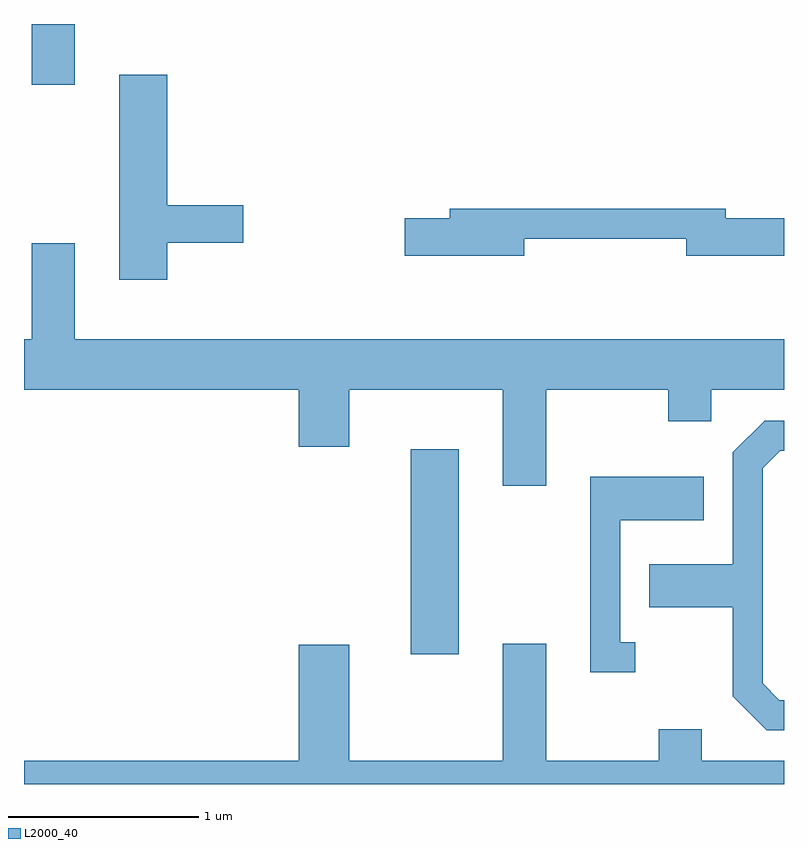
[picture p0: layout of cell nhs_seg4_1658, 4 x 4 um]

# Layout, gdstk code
import gdstk
lib = gdstk.Library(unit=1e-6, precision=1e-09)
def R(c, l, rs):  # rectangles x0, y0, x1, y1
    for r in rs: c.add(gdstk.rectangle(r[:2], r[2:], *l))
def P(c, l, *ps):  # polygons
    for p in ps: c.add(gdstk.Polygon(p, *l))
L2000_40 = (2000, 40)

nhs_seg4_1658 = lib.new_cell('nhs_seg4_1658')
R(nhs_seg4_1658, L2000_40, [(235.646,1306.666,235.899,1307.744), (233.651,1309.661,233.879,1309.982)])
P(nhs_seg4_1658, L2000_40, [(234.364,1308.831),(234.764,1308.831),(234.764,1309.029),(234.364,1309.029),(234.364,1309.714),(234.111,1309.714),(234.111,1308.636),(234.364,1308.636)],
  [(236.244,1308.851),(237.096,1308.851),(237.096,1308.761),(237.611,1308.761),(237.611,1308.959),(237.304,1308.959),(237.304,1309.009),(235.851,1309.009),(235.851,1308.959),(235.616,1308.959),(235.616,1308.761),(236.244,1308.761)],
  [(236.359,1308.056),(237.001,1308.056),(237.001,1307.891),(237.229,1307.891),(237.229,1308.056),(237.611,1308.056),(237.611,1308.324),(233.879,1308.324),(233.879,1308.829),(233.651,1308.829),(233.651,1308.324),(233.611,1308.324),(233.611,1308.056),(235.056,1308.056),(235.056,1307.756),(235.324,1307.756),(235.324,1308.056),(236.131,1308.056),(236.131,1307.551),(236.359,1307.551)],
  [(237.611,1306.424),(237.587,1306.424),(237.499,1306.512),(237.499,1307.644),(237.592,1307.736),(237.611,1307.736),(237.611,1307.894),(237.509,1307.894),(237.341,1307.727),(237.341,1307.139),(236.901,1307.139),(236.901,1306.911),(237.341,1306.911),(237.341,1306.444),(237.519,1306.266),(237.611,1306.266)],
  [(236.828,1306.729),(236.749,1306.729),(236.749,1307.371),(237.189,1307.371),(237.189,1307.599),(236.591,1307.599),(236.591,1306.571),(236.828,1306.571)],
  [(237.611,1306.104),(237.179,1306.104),(237.179,1306.269),(236.951,1306.269),(236.951,1306.104),(236.359,1306.104),(236.359,1306.719),(236.131,1306.719),(236.131,1306.104),(235.324,1306.104),(235.324,1306.714),(235.056,1306.714),(235.056,1306.104),(233.611,1306.104),(233.611,1305.982),(237.611,1305.982)])

lib.write_gds('nhs_seg4_1658.gds')
